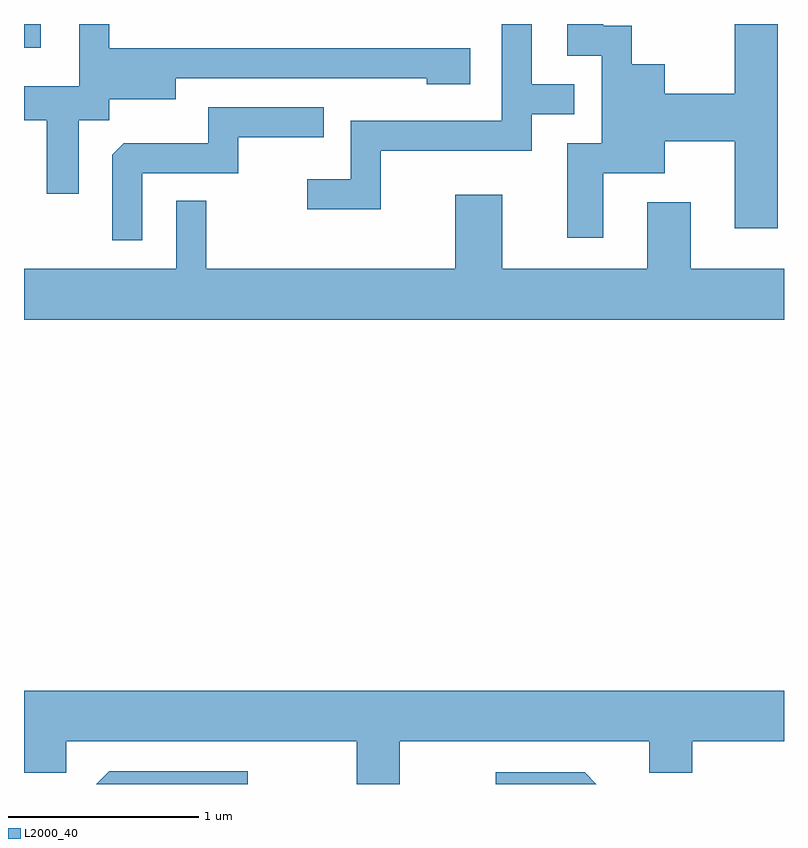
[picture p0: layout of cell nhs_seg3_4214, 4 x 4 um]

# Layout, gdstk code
import gdstk
lib = gdstk.Library(unit=1e-6, precision=1e-09)
def R(c, l, rs):  # rectangles x0, y0, x1, y1
    for r in rs: c.add(gdstk.rectangle(r[:2], r[2:], *l))
def P(c, l, *ps):  # polygons
    for p in ps: c.add(gdstk.Polygon(p, *l))
L2000_40 = (2000, 40)

nhs_seg3_4214 = lib.new_cell('nhs_seg3_4214')
R(nhs_seg3_4214, L2000_40, [(307.611,1251.766,307.699,1251.892)])
P(nhs_seg3_4214, L2000_40, [(307.899,1251.386),(308.059,1251.386),(308.059,1251.496),(308.409,1251.496),(308.409,1251.606),(309.731,1251.606),(309.731,1251.576),(309.959,1251.576),(309.959,1251.764),(308.059,1251.764),(308.059,1251.892),(307.901,1251.892),(307.901,1251.564),(307.611,1251.564),(307.611,1251.386),(307.731,1251.386),(307.731,1250.998),(307.899,1250.998)],
  [(309.489,1251.226),(310.284,1251.226),(310.284,1251.416),(310.508,1251.416),(310.508,1251.574),(310.284,1251.574),(310.284,1251.892),(310.126,1251.892),(310.126,1251.384),(309.331,1251.384),(309.331,1251.074),(309.103,1251.074),(309.103,1250.916),(309.489,1250.916)],
  [(310.659,1251.106),(310.984,1251.106),(310.984,1251.276),(311.351,1251.276),(311.351,1250.816),(311.579,1250.816),(311.579,1251.892),(311.351,1251.892),(311.351,1251.524),(310.984,1251.524),(310.984,1251.679),(310.809,1251.679),(310.809,1251.884),(310.659,1251.884),(310.659,1251.892),(310.471,1251.892),(310.471,1251.726),(310.651,1251.726),(310.651,1251.264),(310.471,1251.264),(310.471,1250.766),(310.659,1250.766)],
  [(308.234,1251.106),(308.739,1251.106),(308.739,1251.296),(309.188,1251.296),(309.188,1251.454),(308.581,1251.454),(308.581,1251.264),(308.137,1251.264),(308.076,1251.204),(308.076,1250.753),(308.234,1250.753)],
  [(311.611,1250.604),(311.119,1250.604),(311.119,1250.954),(310.891,1250.954),(310.891,1250.604),(310.129,1250.604),(310.129,1250.994),(309.881,1250.994),(309.881,1250.604),(308.569,1250.604),(308.569,1250.963),(308.411,1250.963),(308.411,1250.604),(307.611,1250.604),(307.611,1250.336),(311.611,1250.336)],
  [(309.589,1248.116),(310.901,1248.116),(310.901,1247.951),(311.129,1247.951),(311.129,1248.116),(311.611,1248.116),(311.611,1248.384),(307.611,1248.384),(307.611,1247.951),(307.834,1247.951),(307.834,1248.116),(309.361,1248.116),(309.361,1247.892),(309.589,1247.892)],
  [(308.789,1247.959),(308.059,1247.959),(307.992,1247.892),(308.789,1247.892)],
  [(310.562,1247.954),(310.093,1247.954),(310.093,1247.892),(310.624,1247.892)])

lib.write_gds('nhs_seg3_4214.gds')
